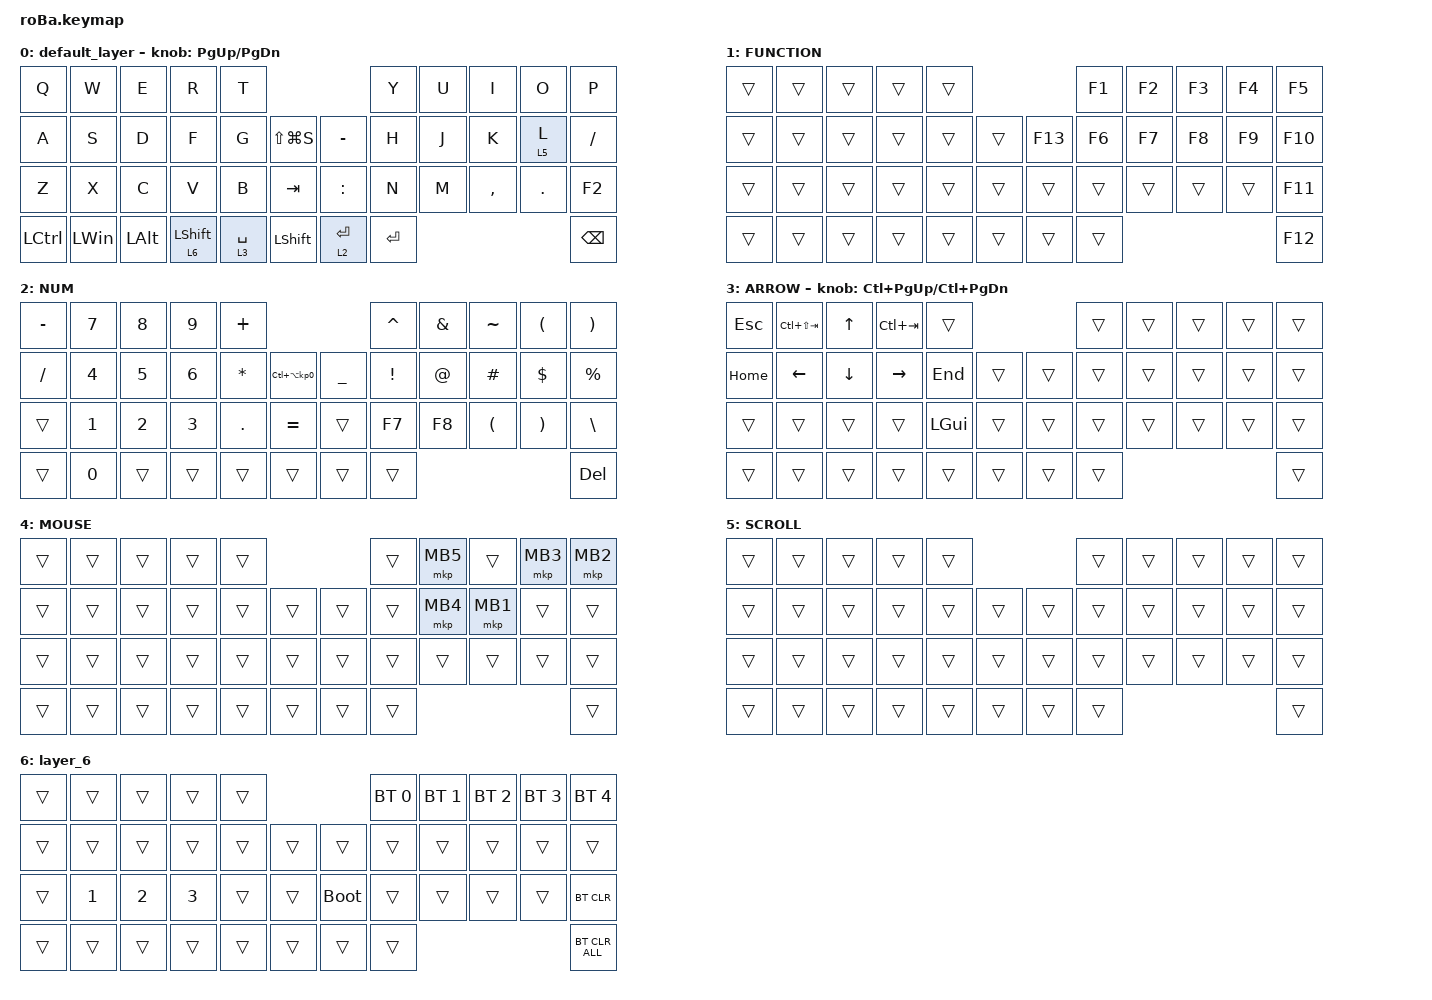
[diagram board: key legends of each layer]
#include <behaviors.dtsi>
#include <dt-bindings/zmk/bt.h>
#include <dt-bindings/zmk/keys.h>
#include <dt-bindings/zmk/pointing.h>

#define MOUSE 4
#define SCROLL 5
#define NUM 6

&mt {
    flavor = "balanced";
    quick-tap-ms = <0>;
};

/ {
    combos {
        compatible = "zmk,combos";

        tab {
            bindings = <&kp TAB>;
            key-positions = <11 12>;
        };

        shift_tab {
            bindings = <&kp LS(TAB)>;
            key-positions = <12 13>;
        };

        muhennkann {
            bindings = <&to_layer_0 INT_MUHENKAN>;
            key-positions = <11 10>;
        };

        double_quotation {
            bindings = <&kp DOUBLE_QUOTES>;
            key-positions = <20 21>;
        };

        eq {
            bindings = <&kp EQUAL>;
            key-positions = <24 25>;
        };
    };

    macros {
        to_layer_0: to_layer_0 {
            compatible = "zmk,behavior-macro-one-param";
            #binding-cells = <1>;
            bindings = <&to 0 &macro_param_1to1 &kp MACRO_PLACEHOLDER>;
            label = "TO_LAYER_0";
        };
    };

    behaviors {
        lt_to_layer_0: lt_to_layer_0 {
            compatible = "zmk,behavior-hold-tap";
            label = "LAYER_TAP_TO_0";
            bindings = <&mo>, <&to_layer_0>;

            #binding-cells = <2>;
            tapping-term-ms = <200>;
        };
    };

    keymap {
        compatible = "zmk,keymap";

        default_layer {
            bindings = <
&kp Q      &kp W         &kp E         &kp R                        &kp T                                         &kp Y      &kp U  &kp I      &kp O    &kp P
&kp A      &kp S         &kp D         &kp F                        &kp G        &kp LS(LG(S))       &kp MINUS    &kp H      &kp J  &kp K      &lt 5 L  &kp SLASH
&kp Z      &kp X         &kp C         &kp V                        &kp B        &kp TAB             &kp COLON    &kp N      &kp M  &kp COMMA  &kp DOT  &kp F2
&kp LCTRL  &kp LEFT_WIN  &kp LEFT_ALT  &lt_to_layer_0 6 LEFT_SHIFT  &lt 3 SPACE  &kp LEFT_SHIFT      &lt 2 ENTER  &kp ENTER                             &kp BACKSPACE
            >;

            sensor-bindings = <&inc_dec_kp PG_UP PAGE_DOWN>;
        };

        FUNCTION {
            bindings = <
&trans  &trans  &trans  &trans  &trans                       &kp F1  &kp F2  &kp F3  &kp F4  &kp F5
&trans  &trans  &trans  &trans  &trans  &trans      &kp F13  &kp F6  &kp F7  &kp F8  &kp F9  &kp F10
&trans  &trans  &trans  &trans  &trans  &trans      &trans   &trans  &trans  &trans  &trans  &kp F11
&trans  &trans  &trans  &trans  &trans  &trans      &trans   &trans                          &kp F12
            >;
        };

        NUM {
            bindings = <
&kp MINUS  &kp N7        &kp N8        &kp N9        &kp PLUS                                                   &kp CARET        &kp AMPERSAND  &kp TILDE             &kp LEFT_PARENTHESIS   &kp RIGHT_PARENTHESIS
&kp SLASH  &kp NUMBER_4  &kp NUMBER_5  &kp NUMBER_6  &kp ASTERISK  &kp LC(LA(KP_NUMBER_0))      &kp UNDERSCORE  &kp EXCLAMATION  &kp AT_SIGN    &kp HASH              &kp DOLLAR             &kp PERCENT
&trans     &kp N1        &kp N2        &kp N3        &kp PERIOD    &kp EQUAL                    &trans          &kp F7           &kp F8         &kp LEFT_PARENTHESIS  &kp RIGHT_PARENTHESIS  &kp BACKSLASH
&trans     &kp N0        &trans        &trans        &trans        &trans                       &trans          &trans                                                                       &kp DELETE
            >;
        };

        ARROW {
            bindings = <
&kp ESCAPE  &kp LC(LS(TAB))  &kp UP_ARROW    &kp LC(TAB)      &trans                            &trans  &trans  &trans  &trans  &trans
&kp HOME    &kp LEFT_ARROW   &kp DOWN_ARROW  &kp RIGHT_ARROW  &kp END       &trans      &trans  &trans  &trans  &trans  &trans  &trans
&trans      &trans           &trans          &trans           &kp LEFT_GUI  &trans      &trans  &trans  &trans  &trans  &trans  &trans
&trans      &trans           &trans          &trans           &trans        &trans      &trans  &trans                          &trans
            >;

            sensor-bindings = <&inc_dec_kp LC(PAGE_UP) LC(PAGE_DOWN)>;
        };

        MOUSE {
            bindings = <
&trans  &trans  &trans  &trans  &trans                      &trans  &mkp MB5  &trans    &mkp MB3  &mkp MB2
&trans  &trans  &trans  &trans  &trans  &trans      &trans  &trans  &mkp MB4  &mkp MB1  &trans    &trans
&trans  &trans  &trans  &trans  &trans  &trans      &trans  &trans  &trans    &trans    &trans    &trans
&trans  &trans  &trans  &trans  &trans  &trans      &trans  &trans                                &trans
            >;
        };

        SCROLL {
            bindings = <
&trans  &trans  &trans  &trans  &trans                      &trans  &trans  &trans  &trans  &trans
&trans  &trans  &trans  &trans  &trans  &trans      &trans  &trans  &trans  &trans  &trans  &trans
&trans  &trans  &trans  &trans  &trans  &trans      &trans  &trans  &trans  &trans  &trans  &trans
&trans  &trans  &trans  &trans  &trans  &trans      &trans  &trans                          &trans
            >;
        };

        layer_6 {
            bindings = <
&trans  &trans        &trans        &trans        &trans                           &bt BT_SEL 0  &bt BT_SEL 1  &bt BT_SEL 2  &bt BT_SEL 3  &bt BT_SEL 4
&trans  &trans        &trans        &trans        &trans  &trans      &trans       &trans        &trans        &trans        &trans        &trans
&trans  &kp NUMBER_1  &kp NUMBER_2  &kp NUMBER_3  &trans  &trans      &bootloader  &trans        &trans        &trans        &trans        &bt BT_CLR
&trans  &trans        &trans        &trans        &trans  &trans      &trans       &trans                                                  &bt BT_CLR_ALL
            >;
        };
    };
};
